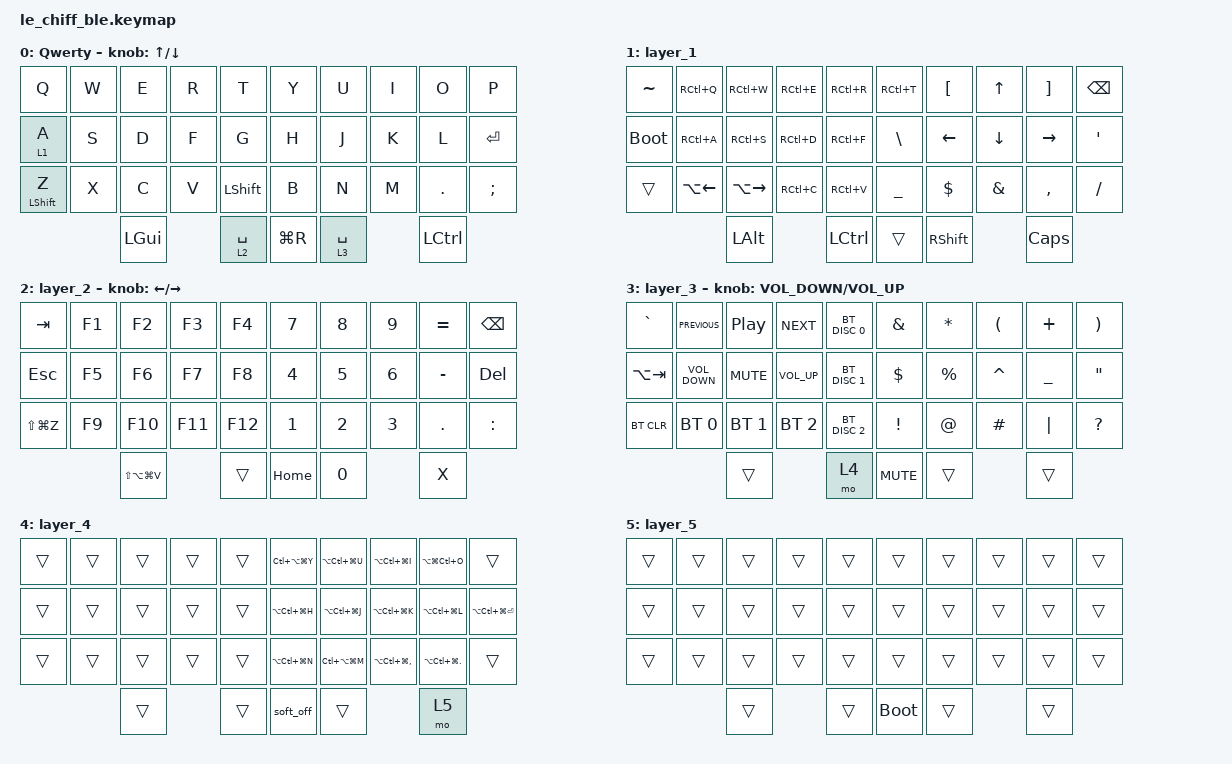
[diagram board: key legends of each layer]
/*
 * Copyright (c) 2021 @MangoIV
 *
 * SPDX-License-Identifier: MIT
 */

#include <behaviors.dtsi>
#include <dt-bindings/zmk/bt.h>
#include <dt-bindings/zmk/keys.h>

// makes it possible to hold backspace

&lt { quick_tap_ms = <140>; };

/ {
    combos {
        compatible = "zmk,combos";

        less {
            bindings = <&kp LT>;
            key-positions = <27 26>;
        };

        more {
            bindings = <&kp GT>;
            key-positions = <28 27>;
        };

        lb {
            bindings = <&kp LEFT_BRACKET>;
            key-positions = <6 7>;
            layers = <0>;
        };

        rb {
            bindings = <&kp RIGHT_BRACKET>;
            key-positions = <7 8>;
            layers = <0>;
        };

        lp {
            bindings = <&kp LEFT_PARENTHESIS>;
            key-positions = <16 17>;
        };

        rp {
            bindings = <&kp RIGHT_PARENTHESIS>;
            key-positions = <17 18>;
        };

        comma {
            bindings = <&kp COMMA>;
            key-positions = <29 28>;
        };

        lbs {
            bindings = <&kp LEFT_BRACE>;
            key-positions = <6 7>;
            layers = <2>;
        };

        rbs {
            bindings = <&kp RIGHT_BRACE>;
            key-positions = <7 8>;
            layers = <2>;
        };
    };

    behaviors {
        hm: homerow_mods {
            compatible = "zmk,behavior-hold-tap";
            label = "homerow_mods";
            bindings = <&kp>, <&kp>;

            #binding-cells = <2>;
            flavor = "tap-preferred";
            tapping-term-ms = <200>;
        };
    };

    keymap {
        compatible = "zmk,keymap";

        default {
            label = "Qwerty";
            bindings = <
&kp Q             &kp W  &kp E     &kp R  &kp T        &kp Y      &kp U        &kp I  &kp O      &kp P
&lt 1 A           &kp S  &kp D     &kp F  &kp G        &kp H      &kp J        &kp K  &kp L      &kp RET
&mt LEFT_SHIFT Z  &kp X  &kp C     &kp V  &kp LSHFT    &kp B      &kp N        &kp M  &kp DOT    &kp SEMI
                         &kp LGUI         &lt 2 SPACE  &kp LG(R)  &lt 3 SPACE         &kp LCTRL
            >;

            sensor-bindings = <&inc_dec_kp UP DOWN>;
        };

        layer_1 {
            bindings = <
&kp TILDE    &kp RC(Q)     &kp RC(W)      &kp RC(E)  &kp RC(R)  &kp RC(T)      &kp LEFT_BRACKET  &kp UP_ARROW  &kp RIGHT_BRACKET  &kp BACKSPACE
&bootloader  &kp RC(A)     &kp RC(S)      &kp RC(D)  &kp RC(F)  &kp BACKSLASH  &kp LEFT          &kp DOWN      &kp RIGHT          &kp SQT
&trans       &kp LA(LEFT)  &kp LA(RIGHT)  &kp RC(C)  &kp RC(V)  &kp UNDER      &kp DLLR          &kp AMPS      &kp COMMA          &kp SLASH
                           &kp LEFT_ALT              &kp LCTRL  &trans         &kp RIGHT_SHIFT                 &kp CAPS
            >;
        };

        layer_2 {
            bindings = <
&kp TAB        &kp F1  &kp F2             &kp F3   &kp F4   &kp N7    &kp N8  &kp N9  &kp EQUAL  &kp BSPC
&kp ESCAPE     &kp F5  &kp F6             &kp F7   &kp F8   &kp N4    &kp N5  &kp N6  &kp MINUS  &kp DELETE
&kp LS(LG(Z))  &kp F9  &kp F10            &kp F11  &kp F12  &kp N1    &kp N2  &kp N3  &kp DOT    &kp COLON
                       &kp LS(LA(LG(V)))           &trans   &kp HOME  &kp N0          &kp X
            >;

            sensor-bindings = <&inc_dec_kp LEFT RIGHT>;
        };

        layer_3 {
            bindings = <
&kp GRAVE    &kp C_PREVIOUS     &kp C_PLAY_PAUSE  &kp C_NEXT    &bt BT_DISC 0  &kp AMPS    &kp STAR   &kp LPAR   &kp PLUS   &kp RPAR
&kp LA(TAB)  &kp C_VOLUME_DOWN  &kp C_MUTE        &kp C_VOL_UP  &bt BT_DISC 1  &kp DLLR    &kp PRCNT  &kp CARET  &kp UNDER  &kp DQT
&bt BT_CLR   &bt BT_SEL 0       &bt BT_SEL 1      &bt BT_SEL 2  &bt BT_DISC 2  &kp EXCL    &kp AT     &kp HASH   &kp PIPE   &kp QMARK
                                &trans                          &mo 4          &kp C_MUTE  &trans                &trans
            >;

            sensor-bindings = <&inc_dec_kp C_VOLUME_DOWN C_VOLUME_UP>;
        };

        layer_4 {
            bindings = <
&trans  &trans  &trans  &trans  &trans  &kp LC(LA(LG(Y)))  &kp LA(LC(LG(U)))  &kp LA(LC(LG(I)))      &kp LA(LG(LC(O)))    &trans
&trans  &trans  &trans  &trans  &trans  &kp LA(LC(LG(H)))  &kp LA(LC(LG(J)))  &kp LA(LC(LG(K)))      &kp LA(LC(LG(L)))    &kp LA(LC(LG(ENTER)))
&trans  &trans  &trans  &trans  &trans  &kp LA(LC(LG(N)))  &kp LC(LA(LG(M)))  &kp LA(LC(LG(COMMA)))  &kp LA(LC(LG(DOT)))  &trans
                &trans          &trans  &soft_off          &trans                                    &mo 5
            >;
        };

        layer_5 {
            bindings = <
&trans  &trans  &trans  &trans  &trans  &trans       &trans  &trans  &trans  &trans
&trans  &trans  &trans  &trans  &trans  &trans       &trans  &trans  &trans  &trans
&trans  &trans  &trans  &trans  &trans  &trans       &trans  &trans  &trans  &trans
                &trans          &trans  &bootloader  &trans          &trans
            >;
        };
    };
};
